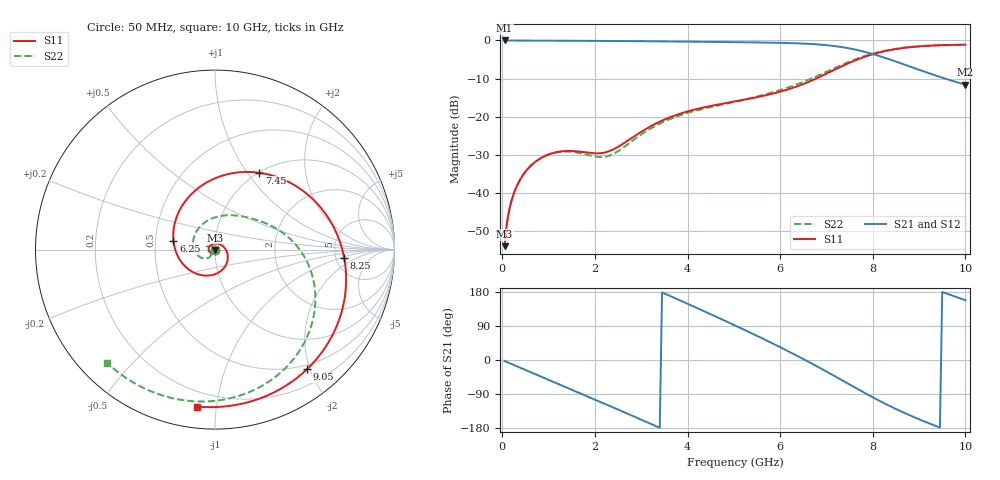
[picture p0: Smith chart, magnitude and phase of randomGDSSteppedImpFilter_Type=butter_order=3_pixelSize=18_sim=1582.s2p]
! freq	dB(S11)	phase(S11)	dB(S12)	phase(S12)
!  dB(S21)	phase(S21)	dB(S22)	phase(S22)
!S-par simulation data
#  GHz  S  DB  R 50
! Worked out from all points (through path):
!   200 points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, 50 MHz to 10 GHz, reference 50 ohm
!   highest |S21| = -0.01 dB at 50 MHz (marker M1); lowest = -11.6 dB at 10 GHz (marker M2)
!   group delay of S21, straight-line fit = 161 ps
!   lowest |S11| = -53.9 dB at 50 MHz (marker M3), VSWR 1.00, Z = 50 - j0.202 ohm
!   |S11| at or under -10 dB: start of sweep to 6.776 GHz
!   |S22| runs from -53.9 to -1.2 dB; largest |S21 - S12| = 0
!   S11 on the Smith chart (normalised r, x): 50 MHz: 1.00, -0.00; 6.25 GHz: 0.62, +0.06; 7.45 GHz: 1.01, +1.14; 8.25 GHz: 5.96, -1.10; 9.05 GHz: 0.43, -1.95; 10 GHz: 0.11, -0.89
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0.05  -53.91 -90.8  -0.01 -2.7  -0.01 -2.7  -53.89 -89.9
0.1  -47.91 -95.0  -0.02 -5.3  -0.02 -5.3  -47.89 -93.3
0.2  -41.95 -101.8  -0.03 -10.5  -0.03 -10.5  -41.93 -98.2
0.55  -33.67 -124.2  -0.04 -28.7  -0.04 -28.7  -33.66 -113.7
1.2  -29.21 -169.0  -0.08 -62.5  -0.08 -62.5  -29.27 -139.0
1.75  -29.26 141.8  -0.11 -91.2  -0.11 -91.2  -29.71 -150.1
2.25  -29.25 78.4  -0.14 -117.5  -0.14 -117.5  -30.40 -137.4
2.7  -26.34 22.3  -0.18 -141.4  -0.18 -141.4  -27.29 -124.8
3.4  -21.29 -34.1  -0.25 -178.9  -0.25 -178.9  -21.81 -142.8
4.15  -18.12 -75.1  -0.35 140.2  -0.35 140.2  -18.49 176.0
4.6  -16.94 -96.0  -0.40 115.2  -0.40 115.2  -17.20 146.4
5.05  -15.93 -116.5  -0.46 89.8  -0.46 89.8  -16.02 115.5
5.6  -14.61 -145.6  -0.54 57.8  -0.54 57.8  -14.40 80.0
6.25  -12.53 168.2  -0.71 18.4  -0.71 18.4  -12.00 46.0
6.7  -10.42 128.6  -0.95 -10.4  -0.95 -10.4  -9.86 26.8
7.45  -6.12 60.0  -1.99 -61.2  -1.99 -61.2  -5.79 -6.9
7.8  -4.41 30.5  -2.91 -85.2  -2.91 -85.2  -4.20 -25.0
8.25  -2.84 -3.5  -4.51 -114.4  -4.51 -114.4  -2.74 -48.9
8.35  -2.59 -10.4  -4.91 -120.5  -4.91 -120.5  -2.50 -54.1
9.05  -1.50 -52.5  -7.91 -159.0  -7.91 -159.0  -1.50 -89.2
9.5  -1.23 -74.8  -9.76 179.6  -9.76 179.6  -1.27 -110.4
10  -1.11 -96.4  -11.59 157.7  -11.59 157.7  -1.20 -133.5
